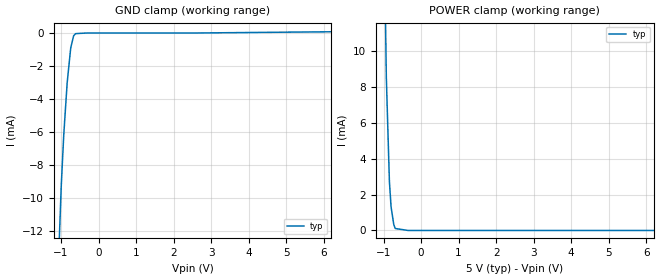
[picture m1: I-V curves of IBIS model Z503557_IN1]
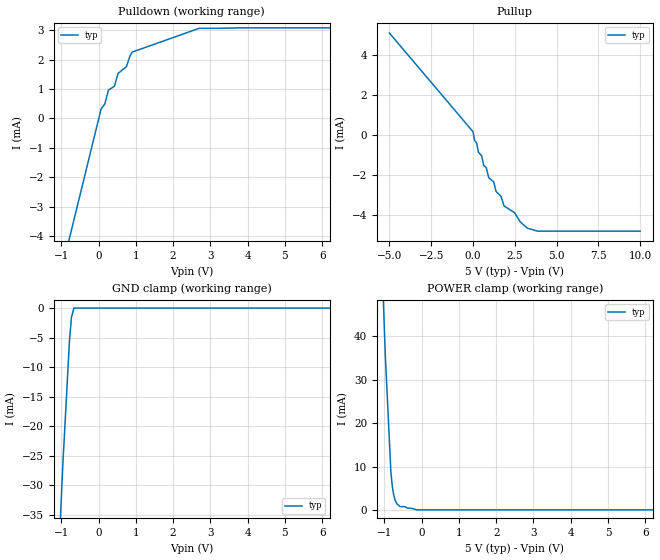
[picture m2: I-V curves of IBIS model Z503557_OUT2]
| YOU ARE ONLY AUTHORIZED TO USE THIS SOFTWARE
| ACCORDING TO LICENSOR'S LICENSE RESTRICTIONS.
[IBIS Ver] 3.1
[File Name] mc14071bd.ibs
[File Rev] 2.0
[Source] Measured and created by ICX Technology
[Date] Friday 7/14/00 9:07:53 AM
[Copyright]
| (C) COPYRIGHT 1993-2000
| MENTOR GRAPHICS CORPORATION
| ICX STANDARD LIBRARY, ICX PROJECT MODELING,
| ICX CUSTOM MODELING, ICX VENDOR MODEL
| ALL RIGHTS RESERVED.
| THE FOLLOWING ARE TRADEMARKS OR SERVICE MARKS OF
| MENTOR GRAPHICS CORPORATION:ICX (R), ICX STANDARD
| LIBRARY(R), ICX PROJECT MODELING(R), ICX CUSTOM
| MODELING(R), qualityIBIS(TM), MODELVIEWER(TM),
| AND MODELEDITOR(TM)
| ALL COPIES OF SOFTWARE, INCLUDING BUT NOT LIMITED TO
| ANY MODIFICATIONS, ENHANCEMENTS OR DERIVATIVE WORKS,
| MUST CONTAIN ALL MENTOR GRAPHICS CORPORATION'S
| NOTICES AND LEGENDS, INCLUDING THOSE EMBEDDED IN
| SOFTWARE AND THOSE AFFIXED TO SOFTWARE MEDIUM
| AND CONTAINER, AS RECEIVED FROM MENTOR GRAPHICS
| CORPORATION.
|  ZAP Model Builder 2.7
[Component] MC14071BD
[Manufacturer] OnSemiconductor
[Package]
| variable   typ   min   max
R_pkg  .155ohms NA NA
L_pkg  3.028nH NA NA
C_pkg  .381pF NA NA
[Pin] signal_name  model_name  R_pin  L_pin C_pin
1 IN1A Z503557_IN1 .16 3.587n .407p
2 IN2A Z503557_IN1 .156 3.147n .387p
3 OUTA Z503557_OUT2 .152 2.717n .367p
4 OUTB Z503557_OUT2 .148 2.297n .347p
5 IN1B Z503557_IN1 .152 2.717n .367p
6 IN2B Z503557_IN1 .156 3.147n .387p
7 VSS POWER .16 3.587n .407p
8 IN1C Z503557_IN1 .16 3.587n .407p
9 IN2C Z503557_IN1 .156 3.147n .387p
10 OUTC Z503557_OUT2 .152 2.717n .367p
11 OUTD Z503557_OUT2 .148 2.297n .347p
12 IN1D Z503557_IN1 .152 2.717n .367p
13 IN2D Z503557_IN1 .156 3.147n .387p
14 VDD POWER .16 3.587n .407p
| Models and submodels in the file (2): Z503557_IN1 (Input), Z503557_OUT2 (Output)
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| (C) COPYRIGHT 1993-2000
| MENTOR GRAPHICS CORPORATION
| ICX STANDARD LIBRARY, ICX PROJECT MODELING,
| ICX CUSTOM MODELING, ICX VENDOR MODEL
| ALL RIGHTS RESERVED.
| THE FOLLOWING ARE TRADEMARKS OR SERVICE MARKS OF
| MENTOR GRAPHICS CORPORATION:ICX (R), ICX STANDARD
| LIBRARY(R), ICX PROJECT MODELING(R), ICX CUSTOM
| MODELING(R), qualityIBIS(TM), MODELVIEWER(TM),
| AND MODELEDITOR(TM)
| ALL COPIES OF SOFTWARE, INCLUDING BUT NOT LIMITED TO
| ANY MODIFICATIONS, ENHANCEMENTS OR DERIVATIVE WORKS,
| MUST CONTAIN ALL MENTOR GRAPHICS CORPORATION'S
| NOTICES AND LEGENDS, INCLUDING THOSE EMBEDDED IN
| SOFTWARE AND THOSE AFFIXED TO SOFTWARE MEDIUM
| AND CONTAINER, AS RECEIVED FROM MENTOR GRAPHICS
| CORPORATION.
| Model Application Version 1.89 2/18/99.
[Model] Z503557_IN1
Model_type Input
Vinl = 1.500V
Vinh = 3.500V
C_comp 4.000pF NA NA
| variable typ   min   max
[Voltage Range] 5.000V NA NA
[GND Clamp Reference] 0.000V NA NA
[POWER Clamp Reference] 5.000V NA NA
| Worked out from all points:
|   GND clamp passes 1 mA (typ) near -0.75 V on its own axis
|   POWER clamp passes 1 mA (typ) near -0.78 V on its own axis
[GND Clamp]
-5V       -367.7mA   NA         NA
-1.166V   -19.99mA   NA         NA
-993.2mV  -9.225mA   NA         NA
-927.5mV  -6.181mA   NA         NA
-836.7mV  -3.021mA   NA         NA
-742.2mV  -900.2uA   NA         NA
-664.6mV  -158.4uA   NA         NA
-610.3mV  -25.23uA   NA         NA
-305.2mV  12.17uA    NA         NA
2.573V    12.17uA    NA         NA
10V       165.4uA    NA         NA
[POWER Clamp]
-5V       927.5mA    NA         NA
-1.006V   20.36mA    NA         NA
-926mV    8.551mA    NA         NA
-844mV    2.749mA    NA         NA
-800mV    1.329mA    NA         NA
-727mV    330.5uA    NA         NA
-689mV    110.5uA    NA         NA
-344.5mV  0A         NA         NA
10V       0A         NA         NA
| (C) COPYRIGHT 1993-2000
| MENTOR GRAPHICS CORPORATION
| ICX STANDARD LIBRARY, ICX PROJECT MODELING,
| ICX CUSTOM MODELING, ICX VENDOR MODEL
| ALL RIGHTS RESERVED.
| THE FOLLOWING ARE TRADEMARKS OR SERVICE MARKS OF
| MENTOR GRAPHICS CORPORATION:ICX (R), ICX STANDARD
| LIBRARY(R), ICX PROJECT MODELING(R), ICX CUSTOM
| MODELING(R), qualityIBIS(TM), MODELVIEWER(TM),
| AND MODELEDITOR(TM)
| ALL COPIES OF SOFTWARE, INCLUDING BUT NOT LIMITED TO
| ANY MODIFICATIONS, ENHANCEMENTS OR DERIVATIVE WORKS,
| MUST CONTAIN ALL MENTOR GRAPHICS CORPORATION'S
| NOTICES AND LEGENDS, INCLUDING THOSE EMBEDDED IN
| SOFTWARE AND THOSE AFFIXED TO SOFTWARE MEDIUM
| AND CONTAINER, AS RECEIVED FROM MENTOR GRAPHICS
| CORPORATION.
| Model Application Version 1.89 2/18/99.
[Model] Z503557_OUT2
Model_type Output
Vref=0.000V
Rref=500.0Mohms
Cref=50.00pF
Vmeas=2.500V
C_comp 8.000pF NA NA
| variable typ   min   max
[Voltage Range] 5.000V NA NA
[POWER Clamp Reference] 5.000V NA NA
[Pullup Reference] 5.000V NA NA
[Pulldown Reference] 0.000V NA NA
[GND Clamp Reference] 0.000V NA NA
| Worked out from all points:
|   slope of the pulldown table from 0 to 0.75 V, typ, clamps not added: 416 ohm
|   slope of the pullup table from 0 to 0.75 V, typ, clamps not added: 424 ohm
|   GND clamp passes 1 mA (typ) near -0.70 V on its own axis
|   POWER clamp passes 1 mA (typ) near -0.61 V on its own axis
[GND Clamp]
-5V       -746.8mA   NA         NA
-1.094V   -45.53mA   NA         NA
-956.5mV  -26.27mA   NA         NA
-779.3mV  -5.436mA   NA         NA
-725.7mV  -1.486mA   NA         NA
-659.7mV  0A         NA         NA
10V       0A         NA         NA
[Pulldown]
-5V       -25.89mA   NA         NA
68.28mV   323.4uA    NA         NA
167.7mV   492.8uA    NA         NA
266.3mV   965.4uA    NA         NA
426.9mV   1.098mA    NA         NA
523.6mV   1.532mA    NA         NA
747.1mV   1.761mA    NA         NA
844.7mV   2.132mA    NA         NA
903.2mV   2.256mA    NA         NA
2.7V      3.065mA    NA         NA
10V       3.08mA     NA         NA
[Pullup]
-5V       5.111mA    NA         NA
5mV       177.8uA    NA         NA
323mV     -842.4uA   NA         NA
523mV     -1.024mA   NA         NA
942mV     -2.12mA    NA         NA
1.24V     -2.322mA   NA         NA
1.378V    -2.8mA     NA         NA
1.676V    -3.044mA   NA         NA
1.855V    -3.524mA   NA         NA
2.494V    -3.868mA   NA         NA
3.252V    -4.639mA   NA         NA
10V       -4.786mA   NA         NA
[POWER Clamp]
-5V       1.222A     NA         NA
-1.133V   74.16mA    NA         NA
-974mV    35.81mA    NA         NA
-824mV    8.793mA    NA         NA
-787mV    5.518mA    NA         NA
-747mV    3.366mA    NA         NA
-708mV    2.157mA    NA         NA
-652mV    1.291mA    NA         NA
-576mV    753.5uA    NA         NA
-454mV    736.8uA    NA         NA
-127mV    0A         NA         NA
10V       0A         NA         NA
[Ramp]
| variable typ min max
dV/dt_r 2.508/14.07n NA NA
dV/dt_f 2.508/11.17n NA NA
R_load = 2.500kOhms
